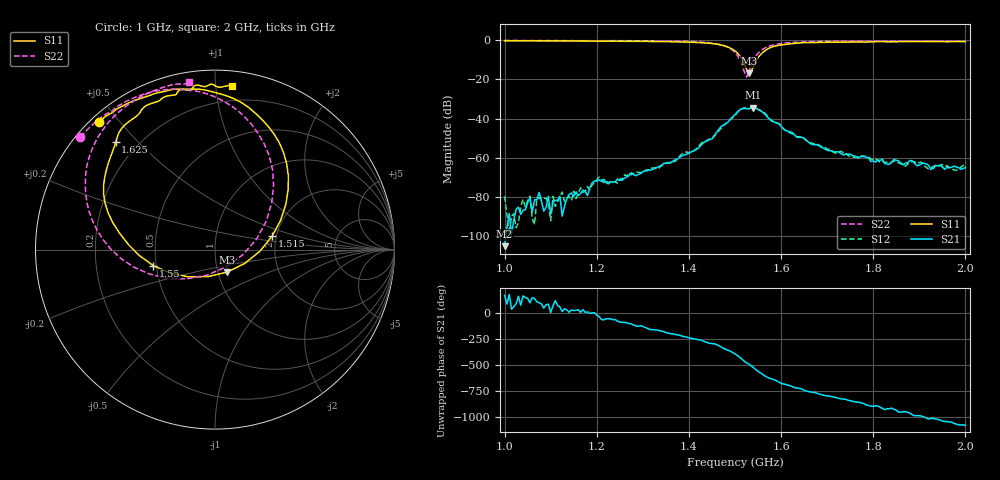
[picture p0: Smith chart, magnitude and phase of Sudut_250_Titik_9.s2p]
# Hz S RI R 50
! CMT, C1220, 16058040, 17.2.0/1
! Date: 14/08/2018 11:58:22
! Data: Format (Calibration Info)
! Freq  S11: Re/Im (F2)  S21: Re/Im (F2)  S12: Re/Im (F2)  S22: Re/Im (F2)
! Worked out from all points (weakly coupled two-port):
!   201 points, 1 GHz to 2 GHz, reference 50 ohm
!   highest |S21| = -34.42 dB at 1.54 GHz (marker M1); lowest = -105.1 dB at 1 GHz (marker M2)
!   lowest |S11| = -16.9 dB at 1.53 GHz (marker M3), VSWR 1.33, Z = 55.2 - j14.2 ohm
!   |S11| at or under -10 dB: 1.516 GHz to 1.547 GHz (31.83 MHz wide, 2.08 % of centre)
!   |S22| runs from -18.8 to -0.2 dB; largest |S21 - S12| = 0.00084
!   S11 on the Smith chart (normalised r, x): 1 GHz: 0.02, +0.44; 1.515 GHz: 1.90, +0.32; 1.55 GHz: 0.48, -0.10; 1.625 GHz: 0.12, +0.43; 2 GHz: 0.10, +1.10
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1e9  -0.6447 0.7125  -5.44e-06 1.13e-06  -0.000102 1.93e-05  -0.7502 0.6268
1.135e9  -0.5055 0.8045  7.8e-05 4.15e-05  6.84e-05 6.53e-05  -0.6467 0.7269
1.165e9  -0.4792 0.818  0.000121 1.14e-05  0.000144 9.17e-05  -0.6179 0.7487
1.17e9  -0.4718 0.8211  0.00013 7.53e-05  0.000122 4.57e-05  -0.6123 0.7522
1.18e9  -0.4552 0.8281  0.000107 1.7e-05  0.000184 2.01e-05  -0.601 0.7584
1.19e9  -0.4396 0.8338  0.000227 -2.6e-06  0.000204 7.47e-06  -0.5889 0.7642
1.205e9  -0.4251 0.8383  0.000224 -0.000155  0.000223 -0.00023  -0.5761 0.7662
1.245e9  -0.3622 0.8604  5.05e-05 -0.000282  7.4e-06 -0.000223  -0.5383 0.8008
1.27e9  -0.3312 0.8707  -7.43e-05 -0.000341  -8.34e-05 -0.000401  -0.5043 0.821
1.335e9  -0.2144 0.8935  -0.000588 -0.000124  -0.000531 -8.54e-05  -0.3956 0.866
1.45e9  0.1821 0.7955  0.00126 0.00274  0.00152 0.00273  0.0265 0.8381
1.5e9  0.4079 0.336  0.0107 -0.00675  0.0101 -0.00644  0.3261 0.3549
1.515e9  0.3187 0.0753  0.00191 -0.0175  0.00237 -0.0176  0.2328 0.0605
1.525e9  0.1652 -0.0775  -0.00854 -0.0156  -0.00853 -0.0158  0.0612 -0.0968
1.53e9  0.066 -0.1258  -0.0117 -0.0133  -0.0118 -0.0133  -0.0464 -0.1432
1.54e9  -0.1466 -0.1521  -0.0182 -0.00539  -0.018 -0.00539  -0.2689 -0.1594
1.55e9  -0.3435 -0.0894  -0.016 0.00571  -0.0162 0.00508  -0.4525 -0.0977
1.58e9  -0.6124 0.2576  0.000316 0.00852  0.00074 0.00882  -0.702 0.2144
1.625e9  -0.553 0.5977  0.00424 0.00088  0.00395 0.000955  -0.6983 0.5226
1.67e9  -0.4411 0.7407  0.0016 -0.00141  0.00176 -0.00145  -0.6205 0.6742
1.835e9  -0.146 0.8869  -0.000639 0.000221  -0.000668 0.000356  -0.3704 0.8732
2e9  0.0935 0.9123  0.000564 1.88e-05  0.000633 -1.24e-05  -0.1468 0.9312
